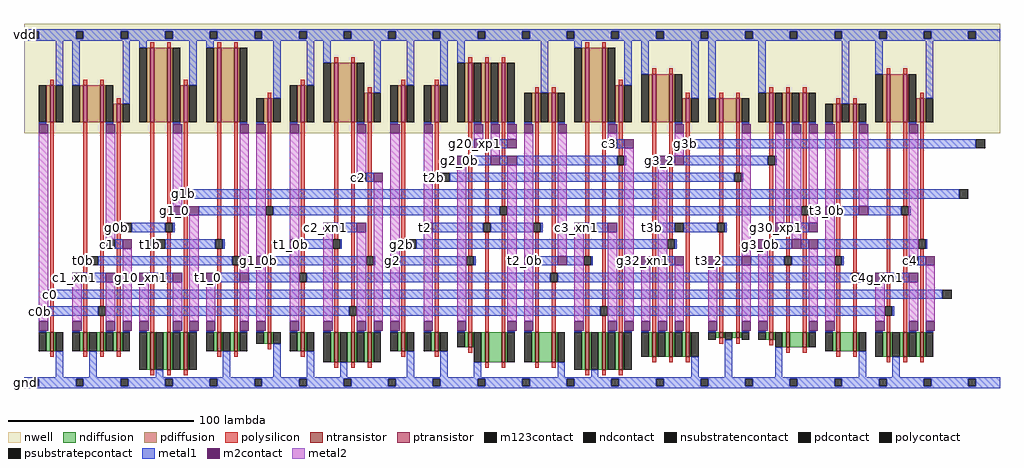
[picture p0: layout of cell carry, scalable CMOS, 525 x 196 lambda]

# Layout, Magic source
magic
tech scmos
<< nwell >>
rect 0 137 525 196
<< ntransistor >>
rect 14 20 16 30
rect 32 20 34 30
rect 41 20 43 30
rect 50 20 52 30
rect 68 10 70 30
rect 77 10 79 30
rect 86 10 88 30
rect 104 20 106 30
rect 113 20 115 30
rect 131 24 133 30
rect 149 20 151 30
rect 167 14 169 30
rect 176 14 178 30
rect 185 14 187 30
rect 203 20 205 30
rect 221 20 223 30
rect 239 22 241 30
rect 248 14 250 30
rect 257 14 259 30
rect 275 14 277 30
rect 284 14 286 30
rect 302 10 304 30
rect 311 10 313 30
rect 320 10 322 30
rect 338 17 340 30
rect 347 17 349 30
rect 356 17 358 30
rect 374 27 376 30
rect 383 27 385 30
rect 401 26 403 30
rect 410 22 412 30
rect 419 22 421 30
rect 437 20 439 30
rect 446 20 448 30
rect 464 17 466 30
rect 473 17 475 30
rect 482 17 484 30
<< ptransistor >>
rect 14 143 16 163
rect 32 143 34 163
rect 41 143 43 163
rect 50 143 52 153
rect 68 143 70 183
rect 77 143 79 183
rect 86 143 88 163
rect 104 143 106 183
rect 113 143 115 183
rect 131 143 133 156
rect 149 143 151 163
rect 167 143 169 175
rect 176 143 178 175
rect 185 143 187 159
rect 203 143 205 163
rect 221 143 223 163
rect 239 143 241 175
rect 248 143 250 175
rect 257 143 259 175
rect 275 143 277 159
rect 284 143 286 159
rect 302 143 304 183
rect 311 143 313 183
rect 320 143 322 163
rect 338 143 340 169
rect 347 143 349 169
rect 356 143 358 156
rect 374 143 376 156
rect 383 143 385 156
rect 401 143 403 159
rect 410 143 412 159
rect 419 143 421 159
rect 437 143 439 153
rect 446 143 448 153
rect 464 143 466 169
rect 473 143 475 169
rect 482 143 484 156
<< ndiffusion >>
rect 12 20 14 30
rect 16 20 17 30
rect 30 20 32 30
rect 34 20 35 30
rect 39 20 41 30
rect 43 20 44 30
rect 48 20 50 30
rect 52 20 53 30
rect 66 10 68 30
rect 70 10 71 30
rect 75 10 77 30
rect 79 10 80 30
rect 84 10 86 30
rect 88 10 89 30
rect 102 20 104 30
rect 106 20 107 30
rect 111 20 113 30
rect 115 20 116 30
rect 129 24 131 30
rect 133 24 134 30
rect 147 20 149 30
rect 151 20 152 30
rect 165 14 167 30
rect 169 14 170 30
rect 174 14 176 30
rect 178 14 179 30
rect 183 14 185 30
rect 187 14 188 30
rect 201 20 203 30
rect 205 20 206 30
rect 219 20 221 30
rect 223 20 224 30
rect 237 22 239 30
rect 241 22 242 30
rect 246 14 248 30
rect 250 14 257 30
rect 259 14 260 30
rect 273 14 275 30
rect 277 14 284 30
rect 286 14 287 30
rect 300 10 302 30
rect 304 10 305 30
rect 309 10 311 30
rect 313 10 314 30
rect 318 10 320 30
rect 322 10 323 30
rect 336 17 338 30
rect 340 17 341 30
rect 345 17 347 30
rect 349 17 350 30
rect 354 17 356 30
rect 358 17 359 30
rect 372 27 374 30
rect 376 27 377 30
rect 381 27 383 30
rect 385 27 386 30
rect 399 26 401 30
rect 403 26 404 30
rect 408 22 410 30
rect 412 22 419 30
rect 421 22 422 30
rect 435 20 437 30
rect 439 20 446 30
rect 448 20 449 30
rect 462 17 464 30
rect 466 17 467 30
rect 471 17 473 30
rect 475 17 476 30
rect 480 17 482 30
rect 484 17 485 30
<< pdiffusion >>
rect 12 143 14 163
rect 16 143 17 163
rect 30 143 32 163
rect 34 143 41 163
rect 43 143 44 163
rect 48 143 50 153
rect 52 143 53 153
rect 66 143 68 183
rect 70 143 77 183
rect 79 143 80 183
rect 84 143 86 163
rect 88 143 89 163
rect 102 143 104 183
rect 106 143 113 183
rect 115 143 116 183
rect 129 143 131 156
rect 133 143 134 156
rect 147 143 149 163
rect 151 143 152 163
rect 165 143 167 175
rect 169 143 176 175
rect 178 143 179 175
rect 183 143 185 159
rect 187 143 188 159
rect 201 143 203 163
rect 205 143 206 163
rect 219 143 221 163
rect 223 143 224 163
rect 237 143 239 175
rect 241 143 242 175
rect 246 143 248 175
rect 250 143 251 175
rect 255 143 257 175
rect 259 143 260 175
rect 273 143 275 159
rect 277 143 278 159
rect 282 143 284 159
rect 286 143 287 159
rect 300 143 302 183
rect 304 143 311 183
rect 313 143 314 183
rect 318 143 320 163
rect 322 143 323 163
rect 336 143 338 169
rect 340 143 347 169
rect 349 143 350 169
rect 354 143 356 156
rect 358 143 359 156
rect 372 143 374 156
rect 376 143 383 156
rect 385 143 386 156
rect 399 143 401 159
rect 403 143 404 159
rect 408 143 410 159
rect 412 143 413 159
rect 417 143 419 159
rect 421 143 422 159
rect 435 143 437 153
rect 439 143 440 153
rect 444 143 446 153
rect 448 143 449 153
rect 462 143 464 169
rect 466 143 473 169
rect 475 143 476 169
rect 480 143 482 156
rect 484 143 485 156
<< ndcontact >>
rect 8 20 12 30
rect 17 20 21 30
rect 26 20 30 30
rect 35 20 39 30
rect 44 20 48 30
rect 53 20 57 30
rect 62 10 66 30
rect 71 10 75 30
rect 80 10 84 30
rect 89 10 93 30
rect 98 20 102 30
rect 107 20 111 30
rect 116 20 120 30
rect 125 24 129 30
rect 134 24 138 30
rect 143 20 147 30
rect 152 20 156 30
rect 161 14 165 30
rect 170 14 174 30
rect 179 14 183 30
rect 188 14 192 30
rect 197 20 201 30
rect 206 20 210 30
rect 215 20 219 30
rect 224 20 228 30
rect 233 22 237 30
rect 242 14 246 30
rect 260 14 264 30
rect 269 14 273 30
rect 287 14 291 30
rect 296 10 300 30
rect 305 10 309 30
rect 314 10 318 30
rect 323 10 327 30
rect 332 17 336 30
rect 341 17 345 30
rect 350 17 354 30
rect 359 17 363 30
rect 368 26 372 30
rect 377 26 381 30
rect 386 26 390 30
rect 395 26 399 30
rect 404 22 408 30
rect 422 22 426 30
rect 431 20 435 30
rect 449 20 453 30
rect 458 17 462 30
rect 467 17 471 30
rect 476 17 480 30
rect 485 17 489 30
<< pdcontact >>
rect 8 143 12 163
rect 17 143 21 163
rect 26 143 30 163
rect 44 143 48 163
rect 53 143 57 153
rect 62 143 66 183
rect 80 143 84 183
rect 89 143 93 163
rect 98 143 102 183
rect 116 143 120 183
rect 125 143 129 156
rect 134 143 138 156
rect 143 143 147 163
rect 152 143 156 163
rect 161 143 165 175
rect 179 143 183 175
rect 188 143 192 159
rect 197 143 201 163
rect 206 143 210 163
rect 215 143 219 163
rect 224 143 228 163
rect 233 143 237 175
rect 242 143 246 175
rect 251 143 255 175
rect 260 143 264 175
rect 269 143 273 159
rect 278 143 282 159
rect 287 143 291 159
rect 296 143 300 183
rect 314 143 318 183
rect 323 143 327 163
rect 332 143 336 169
rect 350 143 354 169
rect 359 143 363 156
rect 368 143 372 156
rect 386 143 390 156
rect 395 143 399 159
rect 404 143 408 159
rect 413 143 417 159
rect 422 143 426 159
rect 431 143 435 153
rect 440 143 444 153
rect 449 143 453 153
rect 458 143 462 169
rect 476 143 480 169
rect 485 143 489 156
<< psubstratepcontact >>
rect 4 1 8 5
rect 28 1 32 5
rect 52 1 56 5
rect 76 1 80 5
rect 100 1 104 5
rect 124 1 128 5
rect 148 1 152 5
rect 172 1 176 5
rect 196 1 200 5
rect 220 1 224 5
rect 244 1 248 5
rect 268 1 272 5
rect 292 1 296 5
rect 316 1 320 5
rect 340 1 344 5
rect 364 1 368 5
rect 388 1 392 5
rect 412 1 416 5
rect 436 1 440 5
rect 460 1 464 5
rect 484 1 488 5
rect 508 1 512 5
<< nsubstratencontact >>
rect 4 188 8 192
rect 28 188 32 192
rect 52 188 56 192
rect 76 188 80 192
rect 100 188 104 192
rect 124 188 128 192
rect 148 188 152 192
rect 172 188 176 192
rect 196 188 200 192
rect 220 188 224 192
rect 244 188 248 192
rect 268 188 272 192
rect 292 188 296 192
rect 316 188 320 192
rect 340 188 344 192
rect 364 188 368 192
rect 388 188 392 192
rect 412 188 416 192
rect 436 188 440 192
rect 460 188 464 192
rect 484 188 488 192
rect 508 188 512 192
<< polysilicon >>
rect 68 183 70 186
rect 77 183 79 186
rect 104 183 106 186
rect 113 183 115 186
rect 302 183 304 186
rect 311 183 313 186
rect 14 163 16 166
rect 32 163 34 166
rect 41 163 43 166
rect 50 153 52 156
rect 86 163 88 166
rect 167 175 169 178
rect 176 175 178 178
rect 239 175 241 178
rect 248 175 250 178
rect 257 175 259 178
rect 149 163 151 166
rect 131 156 133 159
rect 203 163 205 166
rect 221 163 223 166
rect 185 159 187 162
rect 275 159 277 162
rect 284 159 286 162
rect 338 169 340 172
rect 347 169 349 172
rect 464 169 466 172
rect 473 169 475 172
rect 320 163 322 166
rect 401 159 403 162
rect 410 159 412 162
rect 419 159 421 162
rect 356 156 358 159
rect 374 156 376 159
rect 383 156 385 159
rect 437 153 439 156
rect 446 153 448 156
rect 482 156 484 159
rect 14 53 16 143
rect 32 71 34 143
rect 14 30 16 48
rect 32 30 34 66
rect 41 44 43 143
rect 50 89 52 143
rect 41 30 43 39
rect 50 30 52 84
rect 68 80 70 143
rect 77 89 79 143
rect 86 107 88 143
rect 68 30 70 75
rect 77 30 79 84
rect 86 30 88 102
rect 104 80 106 143
rect 104 30 106 75
rect 113 71 115 143
rect 131 98 133 143
rect 113 30 115 66
rect 131 30 133 93
rect 149 62 151 143
rect 167 80 169 143
rect 149 30 151 57
rect 167 30 169 75
rect 176 44 178 143
rect 185 71 187 143
rect 203 80 205 143
rect 221 116 223 143
rect 176 30 178 39
rect 185 30 187 66
rect 203 30 205 75
rect 221 30 223 111
rect 239 71 241 143
rect 248 89 250 143
rect 257 98 259 143
rect 239 30 241 66
rect 248 30 250 84
rect 257 30 259 93
rect 275 89 277 143
rect 275 30 277 84
rect 284 62 286 143
rect 302 71 304 143
rect 284 30 286 57
rect 302 30 304 66
rect 311 44 313 143
rect 320 125 322 143
rect 311 30 313 39
rect 320 30 322 120
rect 338 89 340 143
rect 338 30 340 84
rect 347 80 349 143
rect 356 134 358 143
rect 347 30 349 75
rect 356 30 358 129
rect 374 89 376 143
rect 383 116 385 143
rect 401 125 403 143
rect 374 30 376 84
rect 383 30 385 111
rect 401 30 403 120
rect 410 71 412 143
rect 419 98 421 143
rect 410 30 412 66
rect 419 30 421 93
rect 437 71 439 143
rect 437 30 439 66
rect 446 62 448 143
rect 446 30 448 57
rect 464 44 466 143
rect 473 98 475 143
rect 464 30 466 39
rect 473 30 475 93
rect 482 80 484 143
rect 482 30 484 75
rect 14 17 16 20
rect 32 17 34 20
rect 41 17 43 20
rect 50 17 52 20
rect 131 21 133 24
rect 104 17 106 20
rect 113 17 115 20
rect 149 17 151 20
rect 203 17 205 20
rect 221 17 223 20
rect 239 19 241 22
rect 167 11 169 14
rect 176 11 178 14
rect 185 11 187 14
rect 248 11 250 14
rect 257 11 259 14
rect 275 11 277 14
rect 284 11 286 14
rect 374 24 376 27
rect 383 24 385 27
rect 401 23 403 26
rect 410 19 412 22
rect 419 19 421 22
rect 437 17 439 20
rect 446 17 448 20
rect 338 14 340 17
rect 347 14 349 17
rect 356 14 358 17
rect 464 14 466 17
rect 473 14 475 17
rect 482 14 484 17
rect 68 7 70 10
rect 77 7 79 10
rect 86 7 88 10
rect 302 7 304 10
rect 311 7 313 10
rect 320 7 322 10
<< polycontact >>
rect 31 66 35 71
rect 13 48 17 53
rect 49 84 53 89
rect 40 39 44 44
rect 85 102 89 107
rect 76 84 80 89
rect 67 75 71 80
rect 103 75 107 80
rect 130 93 134 98
rect 112 66 116 71
rect 166 75 170 80
rect 148 57 152 62
rect 220 111 224 116
rect 202 75 206 80
rect 184 66 188 71
rect 175 39 179 44
rect 256 93 260 98
rect 247 84 251 89
rect 238 66 242 71
rect 274 84 278 89
rect 301 66 305 71
rect 283 57 287 62
rect 319 120 323 125
rect 310 39 314 44
rect 337 84 341 89
rect 355 129 359 134
rect 346 75 350 80
rect 400 120 404 125
rect 382 111 386 116
rect 373 84 377 89
rect 418 93 422 98
rect 409 66 413 71
rect 436 66 440 71
rect 445 57 449 62
rect 472 93 476 98
rect 463 39 467 44
rect 481 75 485 80
<< metal1 >>
rect 0 192 525 193
rect 0 188 4 192
rect 8 188 28 192
rect 32 188 52 192
rect 56 188 76 192
rect 80 188 100 192
rect 104 188 124 192
rect 128 188 148 192
rect 152 188 172 192
rect 176 188 196 192
rect 200 188 220 192
rect 224 188 244 192
rect 248 188 268 192
rect 272 188 292 192
rect 296 188 316 192
rect 320 188 340 192
rect 344 188 364 192
rect 368 188 388 192
rect 392 188 412 192
rect 416 188 436 192
rect 440 188 460 192
rect 464 188 484 192
rect 488 188 508 192
rect 512 188 525 192
rect 0 187 525 188
rect 17 163 21 187
rect 26 163 30 187
rect 53 153 57 187
rect 62 183 66 187
rect 89 163 93 187
rect 98 183 102 187
rect 134 156 138 187
rect 152 163 156 187
rect 8 142 12 143
rect 44 142 48 143
rect 80 142 84 143
rect 116 142 120 143
rect 161 175 165 187
rect 188 159 192 187
rect 206 163 210 187
rect 224 163 228 187
rect 233 175 237 187
rect 125 142 129 143
rect 143 142 147 143
rect 179 142 183 143
rect 197 142 201 143
rect 215 142 219 143
rect 242 142 246 143
rect 251 142 255 143
rect 278 159 282 187
rect 296 183 300 187
rect 260 142 264 143
rect 323 163 327 187
rect 332 169 336 187
rect 359 156 363 187
rect 368 156 372 187
rect 395 159 399 187
rect 269 142 273 143
rect 287 142 291 143
rect 314 142 318 143
rect 350 142 354 143
rect 386 142 390 143
rect 404 142 408 143
rect 413 142 417 143
rect 440 153 444 187
rect 458 169 462 187
rect 422 142 426 143
rect 485 156 489 187
rect 431 142 435 143
rect 449 142 453 143
rect 476 142 480 143
rect 247 129 260 134
rect 319 129 323 134
rect 359 129 512 134
rect 238 120 251 125
rect 256 120 260 125
rect 265 120 319 125
rect 323 120 324 125
rect 346 120 350 125
rect 355 120 400 125
rect 404 120 405 125
rect 184 111 188 116
rect 229 111 382 116
rect 386 111 387 116
rect 89 102 503 107
rect 85 93 89 98
rect 94 93 130 98
rect 134 93 256 98
rect 260 93 418 98
rect 422 93 423 98
rect 436 93 449 98
rect 454 93 472 98
rect 476 93 477 98
rect 58 84 76 89
rect 80 84 81 89
rect 166 84 179 89
rect 220 84 247 89
rect 251 84 274 89
rect 278 84 279 89
rect 301 84 314 89
rect 341 84 350 89
rect 355 84 373 89
rect 377 84 378 89
rect 409 84 422 89
rect 49 75 53 80
rect 76 75 103 80
rect 107 75 108 80
rect 148 75 166 80
rect 170 75 171 80
rect 211 75 346 80
rect 350 75 351 80
rect 400 75 413 80
rect 418 75 422 80
rect 427 75 481 80
rect 485 75 486 80
rect 40 66 112 71
rect 116 66 117 71
rect 130 66 184 71
rect 188 66 189 71
rect 202 66 238 71
rect 242 66 243 71
rect 274 66 287 71
rect 292 66 301 71
rect 305 66 306 71
rect 337 66 350 71
rect 373 66 386 71
rect 391 66 409 71
rect 413 66 436 71
rect 440 66 441 71
rect 481 66 485 71
rect 31 57 44 62
rect 67 57 80 62
rect 103 57 116 62
rect 121 57 148 62
rect 152 57 283 62
rect 287 57 445 62
rect 449 57 450 62
rect 463 57 476 62
rect 17 48 494 53
rect 13 39 40 44
rect 44 39 175 44
rect 179 39 310 44
rect 314 39 463 44
rect 467 39 468 44
rect 8 30 12 31
rect 26 30 30 31
rect 44 30 48 31
rect 53 30 57 31
rect 62 30 66 31
rect 80 30 84 31
rect 17 6 21 20
rect 35 6 39 20
rect 89 30 93 31
rect 98 30 102 31
rect 116 30 120 31
rect 125 30 129 31
rect 143 30 147 31
rect 161 30 165 31
rect 179 30 183 31
rect 71 6 75 10
rect 107 6 111 20
rect 134 6 138 24
rect 152 6 156 20
rect 188 30 192 31
rect 197 30 201 31
rect 215 30 219 31
rect 233 30 237 31
rect 260 30 264 31
rect 170 6 174 14
rect 206 6 210 20
rect 224 6 228 20
rect 269 30 273 31
rect 296 30 300 31
rect 314 30 318 31
rect 242 6 246 14
rect 287 6 291 14
rect 323 30 327 31
rect 332 30 336 31
rect 341 30 345 31
rect 350 30 354 31
rect 368 30 372 31
rect 386 30 390 31
rect 395 30 399 31
rect 422 30 426 31
rect 305 6 309 10
rect 359 6 363 17
rect 377 6 381 26
rect 431 30 435 31
rect 458 30 462 31
rect 476 30 480 31
rect 404 6 408 22
rect 449 6 453 20
rect 485 30 489 31
rect 467 6 471 17
rect 0 5 525 6
rect 0 1 4 5
rect 8 1 28 5
rect 32 1 52 5
rect 56 1 76 5
rect 80 1 100 5
rect 104 1 124 5
rect 128 1 148 5
rect 152 1 172 5
rect 176 1 196 5
rect 200 1 220 5
rect 224 1 244 5
rect 248 1 268 5
rect 272 1 292 5
rect 296 1 316 5
rect 320 1 340 5
rect 344 1 364 5
rect 368 1 388 5
rect 392 1 412 5
rect 416 1 436 5
rect 440 1 460 5
rect 464 1 484 5
rect 488 1 508 5
rect 512 1 525 5
rect 0 0 525 1
<< m2contact >>
rect 8 137 13 142
rect 44 137 49 142
rect 80 137 85 142
rect 116 137 121 142
rect 125 137 130 142
rect 143 137 148 142
rect 179 137 184 142
rect 197 137 202 142
rect 215 137 220 142
rect 242 137 247 142
rect 251 137 256 142
rect 260 137 265 142
rect 269 137 274 142
rect 287 137 292 142
rect 314 137 319 142
rect 350 137 355 142
rect 386 137 391 142
rect 404 137 409 142
rect 413 137 418 142
rect 422 137 427 142
rect 431 137 436 142
rect 449 137 454 142
rect 476 137 481 142
rect 242 129 247 134
rect 260 129 265 134
rect 323 129 328 134
rect 233 120 238 125
rect 251 120 256 125
rect 260 120 265 125
rect 341 120 346 125
rect 350 120 355 125
rect 188 111 193 116
rect 80 93 85 98
rect 89 93 94 98
rect 431 93 436 98
rect 449 93 454 98
rect 161 84 166 89
rect 179 84 184 89
rect 215 84 220 89
rect 296 84 301 89
rect 314 84 319 89
rect 404 84 409 89
rect 422 84 427 89
rect 53 75 58 80
rect 143 75 148 80
rect 395 75 400 80
rect 413 75 418 80
rect 422 75 427 80
rect 125 66 130 71
rect 197 66 202 71
rect 269 66 274 71
rect 287 66 292 71
rect 332 66 337 71
rect 350 66 355 71
rect 368 66 373 71
rect 386 66 391 71
rect 485 66 490 71
rect 26 57 31 62
rect 44 57 49 62
rect 62 57 67 62
rect 80 57 85 62
rect 98 57 103 62
rect 116 57 121 62
rect 458 57 463 62
rect 476 57 481 62
rect 8 39 13 44
rect 8 31 13 36
rect 26 31 31 36
rect 44 31 49 36
rect 53 31 58 36
rect 62 31 67 36
rect 80 31 85 36
rect 89 31 94 36
rect 98 31 103 36
rect 116 31 121 36
rect 125 31 130 36
rect 143 31 148 36
rect 161 31 166 36
rect 179 31 184 36
rect 188 31 193 36
rect 197 31 202 36
rect 215 31 220 36
rect 233 31 238 36
rect 260 31 265 36
rect 269 31 274 36
rect 296 31 301 36
rect 314 31 319 36
rect 323 31 328 36
rect 332 31 337 36
rect 341 31 346 36
rect 350 31 355 36
rect 368 31 373 36
rect 386 31 391 36
rect 395 31 400 36
rect 422 31 427 36
rect 431 31 436 36
rect 458 31 463 36
rect 476 31 481 36
rect 485 31 490 36
<< metal2 >>
rect 8 44 13 137
rect 44 80 49 137
rect 80 98 85 137
rect 8 36 13 39
rect 26 36 31 57
rect 44 36 49 57
rect 53 36 58 75
rect 62 36 67 57
rect 80 36 85 57
rect 89 36 94 93
rect 116 62 121 137
rect 98 36 103 57
rect 116 36 121 57
rect 125 71 130 137
rect 125 36 130 66
rect 143 80 148 137
rect 179 116 184 137
rect 143 36 148 75
rect 161 36 166 84
rect 179 36 184 84
rect 188 36 193 111
rect 197 71 202 137
rect 215 89 220 137
rect 242 134 247 137
rect 251 125 256 137
rect 260 134 265 137
rect 197 36 202 66
rect 215 36 220 84
rect 233 36 238 120
rect 260 36 265 120
rect 269 71 274 137
rect 287 71 292 137
rect 314 134 319 137
rect 269 36 274 66
rect 296 36 301 84
rect 314 36 319 84
rect 323 36 328 129
rect 350 125 355 137
rect 332 36 337 66
rect 341 36 346 120
rect 386 71 391 137
rect 404 89 409 137
rect 413 80 418 137
rect 422 89 427 137
rect 431 98 436 137
rect 449 98 454 137
rect 350 36 355 66
rect 368 36 373 66
rect 386 36 391 66
rect 395 36 400 75
rect 422 36 427 75
rect 431 36 436 93
rect 476 71 481 137
rect 458 36 463 57
rect 476 36 481 57
rect 485 36 490 66
<< m123contact >>
rect 53 84 58 89
rect 44 75 49 80
rect 71 75 76 80
rect 35 66 40 71
rect 179 111 184 116
rect 224 111 229 116
rect 206 75 211 80
rect 314 129 319 134
rect 350 84 355 89
rect 512 129 517 134
rect 503 102 508 107
rect 476 66 481 71
rect 494 48 499 53
<< labels >>
rlabel metal1 13 48 15 53 0 c0
port 1 nsew
rlabel metal1 44 75 46 80 0 c1
port 2 nsew
rlabel metal1 179 111 181 116 0 c2
port 3 nsew
rlabel metal1 314 129 316 134 0 c3
port 4 nsew
rlabel metal1 476 66 478 71 0 c4
port 5 nsew
rlabel metal1 49 84 51 89 0 g0b
port 6 nsew
rlabel metal1 85 102 87 107 0 g1b
port 7 nsew
rlabel metal1 202 75 204 80 0 g2b
port 8 nsew
rlabel metal1 355 129 357 134 0 g3b
port 9 nsew
rlabel metal1 31 66 33 71 0 t0b
port 10 nsew
rlabel metal1 67 75 69 80 0 t1b
port 11 nsew
rlabel metal1 220 111 222 116 0 t2b
port 12 nsew
rlabel metal1 337 84 339 89 0 t3b
port 13 nsew
rlabel m2contact 8 39 10 44 0 c0b
rlabel m2contact 26 57 28 62 0 c1_xn1
rlabel m2contact 161 84 163 89 0 c2_xn1
rlabel m2contact 296 84 298 89 0 c3_xn1
rlabel m2contact 458 57 460 62 0 c4g_xn1
rlabel m2contact 62 57 64 62 0 g10_xn1
rlabel m2contact 80 93 82 98 0 g1_0
rlabel m2contact 125 66 127 71 0 g1_0b
rlabel m2contact 197 66 199 71 0 g2
rlabel m2contact 242 129 244 134 0 g20_xp1
rlabel m2contact 233 120 235 125 0 g2_0b
rlabel m2contact 404 84 406 89 0 g30_xp1
rlabel m2contact 332 66 334 71 0 g32_xn1
rlabel m2contact 395 75 397 80 0 g3_0b
rlabel m2contact 341 120 343 125 0 g3_2
rlabel m2contact 98 57 100 62 0 t1_0
rlabel m2contact 143 75 145 80 0 t1_0b
rlabel m2contact 215 84 217 89 0 t2
rlabel m2contact 269 66 271 71 0 t2_0b
rlabel m2contact 431 93 433 98 0 t3_0b
rlabel m2contact 368 66 370 71 0 t3_2
rlabel metal1 0 187 2 193 0 vdd
port 14 nsew
rlabel metal1 0 0 2 6 0 gnd
port 15 nsew
<< end >>
